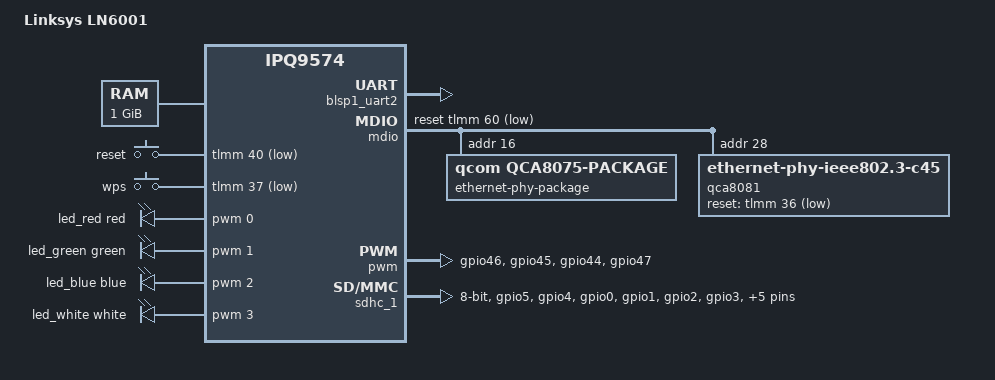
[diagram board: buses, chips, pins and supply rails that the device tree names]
// SPDX-License-Identifier: (GPL-2.0+ OR BSD-3-Clause)

/dts-v1/;

#include <dt-bindings/gpio/gpio.h>
#include <dt-bindings/input/input.h>
#include <dt-bindings/leds/common.h>

#include "ipq9574.dtsi"

/ {
	model = "Linksys LN6001";
	compatible = "linksys,ln6001", "qcom,ipq9574";

	aliases {
		serial0 = &blsp1_uart2;
		led-boot = &led_blue;
		led-failsafe = &led_red;
		led-running = &led_blue;
		led-upgrade = &led_blue;
	};

	chosen {
		stdout-path = "serial0:115200n8";
	};

	memory@40000000 {
		device_type = "memory";
		reg = <0x0 0x40000000 0x0 0x40000000>;
	};

	keys {
		compatible = "gpio-keys";
		pinctrl-0 = <&keys_pins>;
		pinctrl-names = "default";

		button-reset {
			label = "reset";
			linux,code = <KEY_RESTART>;
			gpios = <&tlmm 40 GPIO_ACTIVE_LOW>;
			debounce-interval = <60>;
		};

		button-wps {
			label = "wps";
			linux,code = <KEY_WPS_BUTTON>;
			gpios = <&tlmm 37 GPIO_ACTIVE_LOW>;
			debounce-interval = <60>;
		};
	};

	leds {
		compatible = "pwm-leds";

		led_red: led-0 {
			color = <LED_COLOR_ID_RED>;
			function = LED_FUNCTION_STATUS;
			pwms = <&pwm 0 1250000 0>;
			max-brightness = <255>;
		};

		led_green: led-1 {
			color = <LED_COLOR_ID_GREEN>;
			function = LED_FUNCTION_STATUS;
			pwms = <&pwm 1 1250000 0>;
			max-brightness = <255>;
		};

		led_blue: led-2 {
			color = <LED_COLOR_ID_BLUE>;
			function = LED_FUNCTION_STATUS;
			pwms = <&pwm 2 1250000 0>;
			max-brightness = <255>;
		};

		led_white: led-3 {
			color = <LED_COLOR_ID_WHITE>;
			function = LED_FUNCTION_STATUS;
			pwms = <&pwm 3 1250000 0>;
			max-brightness = <255>;
		};
	};
};

&blsp1_uart2 {
	pinctrl-0 = <&uart2_pins>;
	pinctrl-names = "default";
	status = "okay";
};

&mdio {
	clock-frequency = <6250000>;
	pinctrl-0 = <&mdio_pins>;
	pinctrl-names = "default";
	reset-gpios = <&tlmm 60 GPIO_ACTIVE_LOW>;
	status = "okay";

	ethernet-phy-package@10 {
		compatible = "qcom,qca8075-package";
		#address-cells = <1>;
		#size-cells = <0>;
		reg = <0x10>;

		qca8075_0: ethernet-phy@10 {
			reg = <0x10>;
		};

		qca8075_1: ethernet-phy@11 {
			reg = <0x11>;
		};

		qca8075_2: ethernet-phy@12 {
			reg = <0x12>;
		};

		qca8075_3: ethernet-phy@13 {
			reg = <0x13>;
		};
	};

	qca8081: ethernet-phy@1c {
		compatible = "ethernet-phy-ieee802.3-c45";
		reg = <0x1c>;
		reset-assert-us = <40>;
		reset-deassert-us = <150000>;
		reset-gpios = <&tlmm 36 GPIO_ACTIVE_LOW>;
	};
};

&pwm {
	pinctrl-0 = <&pwm_pins>;
	pinctrl-names = "default";
	status = "okay";
};

&qcom_ppe {
	ethernet-ports {
		#address-cells = <1>;
		#size-cells = <0>;

		lan1: port@1 {
			reg = <1>;
			label = "lan1";
			phy-mode = "psgmii";
			managed = "in-band-status";
			phy-handle = <&qca8075_0>;
			pcs-handle = <&pcs0_ch0>;
			clocks = <&nsscc NSS_CC_PORT1_MAC_CLK>,
				 <&nsscc NSS_CC_PORT1_RX_CLK>,
				 <&nsscc NSS_CC_PORT1_TX_CLK>;
			clock-names = "mac", "rx", "tx";
			resets = <&nsscc PORT1_MAC_ARES>,
				 <&nsscc PORT1_RX_ARES>,
				 <&nsscc PORT1_TX_ARES>;
			reset-names = "mac", "rx", "tx";
		};

		lan2: port@2 {
			reg = <2>;
			label = "lan2";
			phy-mode = "psgmii";
			managed = "in-band-status";
			phy-handle = <&qca8075_1>;
			pcs-handle = <&pcs0_ch1>;
			clocks = <&nsscc NSS_CC_PORT2_MAC_CLK>,
				 <&nsscc NSS_CC_PORT2_RX_CLK>,
				 <&nsscc NSS_CC_PORT2_TX_CLK>;
			clock-names = "mac", "rx", "tx";
			resets = <&nsscc PORT2_MAC_ARES>,
				 <&nsscc PORT2_RX_ARES>,
				 <&nsscc PORT2_TX_ARES>;
			reset-names = "mac", "rx", "tx";
		};

		lan3: port@3 {
			reg = <3>;
			label = "lan3";
			phy-mode = "psgmii";
			managed = "in-band-status";
			phy-handle = <&qca8075_2>;
			pcs-handle = <&pcs0_ch2>;
			clocks = <&nsscc NSS_CC_PORT3_MAC_CLK>,
				 <&nsscc NSS_CC_PORT3_RX_CLK>,
				 <&nsscc NSS_CC_PORT3_TX_CLK>;
			clock-names = "mac", "rx", "tx";
			resets = <&nsscc PORT3_MAC_ARES>,
				 <&nsscc PORT3_RX_ARES>,
				 <&nsscc PORT3_TX_ARES>;
			reset-names = "mac", "rx", "tx";
		};

		lan4: port@4 {
			reg = <4>;
			label = "lan4";
			phy-mode = "psgmii";
			managed = "in-band-status";
			phy-handle = <&qca8075_3>;
			pcs-handle = <&pcs0_ch3>;
			clocks = <&nsscc NSS_CC_PORT4_MAC_CLK>,
				 <&nsscc NSS_CC_PORT4_RX_CLK>,
				 <&nsscc NSS_CC_PORT4_TX_CLK>;
			clock-names = "mac", "rx", "tx";
			resets = <&nsscc PORT4_MAC_ARES>,
				 <&nsscc PORT4_RX_ARES>,
				 <&nsscc PORT4_TX_ARES>;
			reset-names = "mac", "rx", "tx";
		};

		wan: port@6 {
			reg = <6>;
			label = "wan";
			phy-mode = "sgmii";
			managed = "in-band-status";
			phy-handle = <&qca8081>;
			pcs-handle = <&pcs2_ch0>;
			clocks = <&nsscc NSS_CC_PORT6_MAC_CLK>,
				 <&nsscc NSS_CC_PORT6_RX_CLK>,
				 <&nsscc NSS_CC_PORT6_TX_CLK>;
			clock-names = "mac", "rx", "tx";
			resets = <&nsscc PORT6_MAC_ARES>,
				 <&nsscc PORT6_RX_ARES>,
				 <&nsscc PORT6_TX_ARES>;
			reset-names = "mac", "rx", "tx";
		};
	};
};

&sdhc_1 {
	bus-width = <8>;
	max-frequency = <384000000>;
	mmc-ddr-1_8v;
	mmc-hs200-1_8v;
	mmc-hs400-1_8v;
	mmc-hs400-enhanced-strobe;
	pinctrl-0 = <&sdc_default_state>;
	pinctrl-names = "default";
	status = "okay";
};

&sleep_clk {
	clock-frequency = <32000>;
};

&tlmm {
	keys_pins: keys-state {
		pins = "gpio37", "gpio40";
		function = "gpio";
		drive-strength = <8>;
		bias-pull-up;
	};

	pwm_pins: pwm-state {
		blue-pins {
			pins = "gpio46";
			function = "pwm";
			drive-strength = <8>;
		};

		green-pins {
			pins = "gpio45";
			function = "pwm";
			drive-strength = <8>;
		};

		red-pins {
			pins = "gpio44";
			function = "pwm";
			drive-strength = <8>;
		};

		white-pins {
			pins = "gpio47";
			function = "pwm";
			drive-strength = <8>;
		};
	};

	sdc_default_state: sdc-default-state {
		clk-pins {
			pins = "gpio5";
			function = "sdc_clk";
			drive-strength = <8>;
			bias-disable;
		};

		cmd-pins {
			pins = "gpio4";
			function = "sdc_cmd";
			drive-strength = <8>;
			bias-pull-up;
		};

		data-pins {
			pins = "gpio0", "gpio1", "gpio2", "gpio3",
			       "gpio6", "gpio7", "gpio8", "gpio9";
			function = "sdc_data";
			drive-strength = <8>;
			bias-pull-up;
		};

		rclk-pins {
			pins = "gpio10";
			function = "sdc_rclk";
			drive-strength = <8>;
			bias-pull-down;
		};
	};
};
